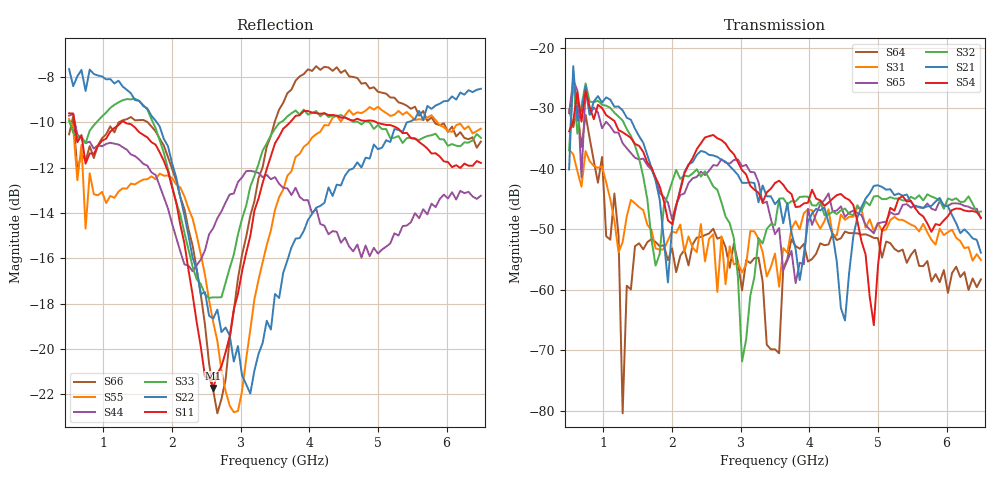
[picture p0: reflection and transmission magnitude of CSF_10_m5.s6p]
!Keysight Technologies,M9804A,MY58100912,A.14.10.03
!Date: Thursday, April 27, 2023 10:28:33
!Correction: S11(C  6-Port  )
!S12(C  6-Port  )
!S13(C  6-Port  )
!S14(C  6-Port  )
!S15(C  6-Port  )
!S16(C  6-Port  )
!S21(C  6-Port  )
!S22(C  6-Port  )
!S23(C  6-Port  )
!S24(C  6-Port  )
!S25(C  6-Port  )
!S26(C  6-Port  )
!S31(C  6-Port  )
!S32(C  6-Port  )
!S33(C  6-Port  )
!S34(C  6-Port  )
!S35(C  6-Port  )
!S36(C  6-Port  )
!S41(C  6-Port  )
!S42(C  6-Port  )
!S43(C  6-Port  )
!S44(C  6-Port  )
!S45(C  6-Port  )
!S46(C  6-Port  )
!S51(C  6-Port  )
!S52(C  6-Port  )
!S53(C  6-Port  )
!S54(C  6-Port  )
!S55(C  6-Port  )
!S56(C  6-Port  )
!S61(C  6-Port  )
!S62(C  6-Port  )
!S63(C  6-Port  )
!S64(C  6-Port  )
!S65(C  6-Port  )
!S66(C  6-Port  )
!S6P File: Measurement: :
# Hz S  RI  R 50
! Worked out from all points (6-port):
!   101 points, 500 MHz to 6.5 GHz, reference 50 ohm
!   strongest paths, dB at 500 MHz, 2 GHz, 3.5 GHz, 5 GHz, 6.5 GHz:
!     S54: -33.8, -49.1, -42.3, -56.1, -48.1
!     S21: -40.1, -49.7, -45.8, -42.7, -53.8
!     S32: -36.9, -42.2, -49.3, -44.5, -47.1
!     S65: -30.8, -48.3, -50.8, -49.0, -48.2
!     S31: -36.9, -50.3, -54.0, -48.9, -55.1
!     S64: -30.2, -53.1, -69.8, -51.5, -58.3
!   lowest |S11| = -21.7 dB at 2.6 GHz (marker M1), VSWR 1.18, Z = 42.7 + j2 ohm
!   |S11| at or under -10 dB: 578.6 MHz to 1.259 GHz (680.9 MHz wide, 74.1 % of centre); 1.315 GHz to 3.717 GHz (2.402 GHz wide, 95.5 % of centre); 4.983 GHz to end of sweep
